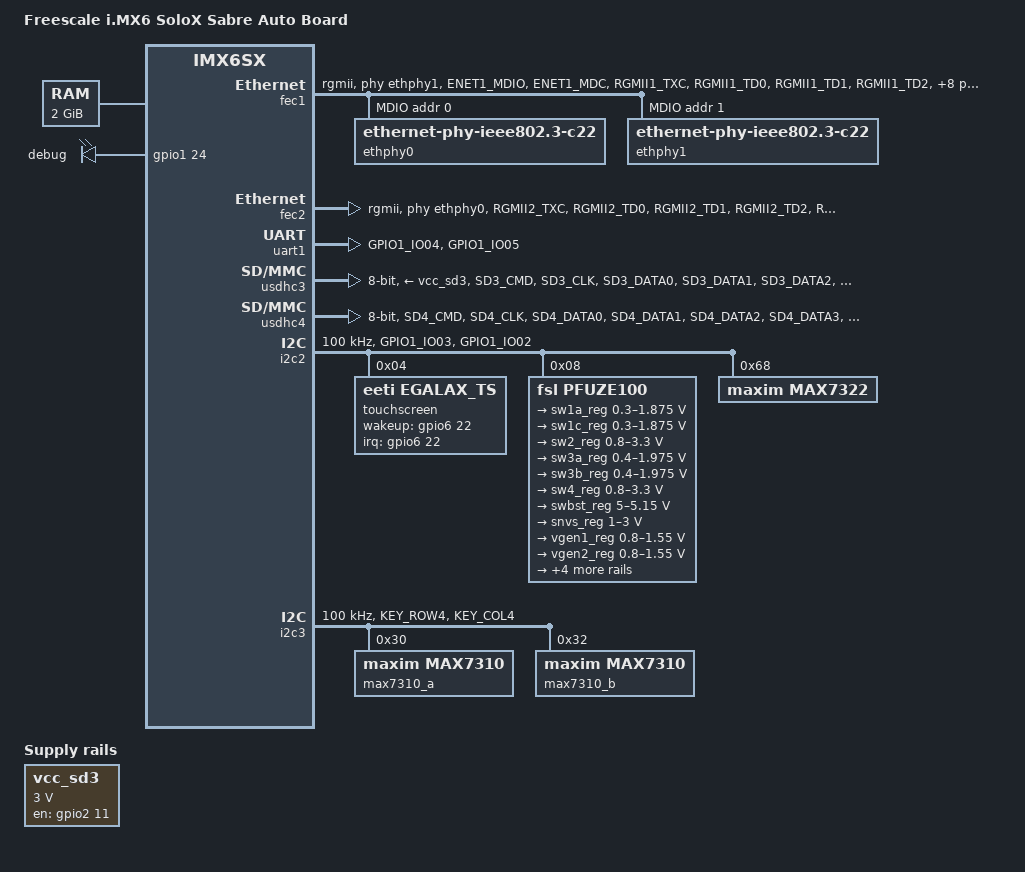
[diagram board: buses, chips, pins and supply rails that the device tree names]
// SPDX-License-Identifier: GPL-2.0
//
// Copyright (C) 2014 Freescale Semiconductor, Inc.

/dts-v1/;

#include "imx6sx.dtsi"

/ {
	model = "Freescale i.MX6 SoloX Sabre Auto Board";
	compatible = "fsl,imx6sx-sabreauto", "fsl,imx6sx";

	memory@80000000 {
		reg = <0x80000000 0x80000000>;
	};

	leds {
		compatible = "gpio-leds";
		pinctrl-names = "default";
		pinctrl-0 = <&pinctrl_led>;

		user {
			label = "debug";
			gpios = <&gpio1 24 GPIO_ACTIVE_HIGH>;
			linux,default-trigger = "heartbeat";
		};
	};

	vcc_sd3: regulator-vcc-sd3 {
		compatible = "regulator-fixed";
		pinctrl-names = "default";
		pinctrl-0 = <&pinctrl_vcc_sd3>;
		regulator-name = "VCC_SD3";
		regulator-min-microvolt = <3000000>;
		regulator-max-microvolt = <3000000>;
		gpio = <&gpio2 11 GPIO_ACTIVE_HIGH>;
		enable-active-high;
	};
};

&anaclk2 {
	clock-frequency = <24576000>;
};

&fec1 {
	pinctrl-names = "default";
	pinctrl-0 = <&pinctrl_enet1>;
	phy-mode = "rgmii";
	phy-handle = <&ethphy1>;
	fsl,magic-packet;
	status = "okay";

	mdio {
		#address-cells = <1>;
		#size-cells = <0>;

		ethphy0: ethernet-phy@0 {
			compatible = "ethernet-phy-ieee802.3-c22";
			reg = <0>;
		};

		ethphy1: ethernet-phy@1 {
			compatible = "ethernet-phy-ieee802.3-c22";
			reg = <1>;
		};
	};
};

&fec2 {
	pinctrl-names = "default";
	pinctrl-0 = <&pinctrl_enet2>;
	phy-mode = "rgmii";
	phy-handle = <&ethphy0>;
	fsl,magic-packet;
	status = "okay";
};

&uart1 {
	pinctrl-names = "default";
	pinctrl-0 = <&pinctrl_uart1>;
	status = "okay";
};

&usdhc3 {
	pinctrl-names = "default", "state_100mhz", "state_200mhz";
	pinctrl-0 = <&pinctrl_usdhc3>;
	pinctrl-1 = <&pinctrl_usdhc3_100mhz>;
	pinctrl-2 = <&pinctrl_usdhc3_200mhz>;
	bus-width = <8>;
	cd-gpios = <&gpio7 10 GPIO_ACTIVE_LOW>;
	wp-gpios = <&gpio3 19 GPIO_ACTIVE_HIGH>;
	keep-power-in-suspend;
	wakeup-source;
	vmmc-supply = <&vcc_sd3>;
	status = "okay";
};

&usdhc4 {
	pinctrl-names = "default";
	pinctrl-0 = <&pinctrl_usdhc4>;
	bus-width = <8>;
	cd-gpios = <&gpio7 11 GPIO_ACTIVE_LOW>;
	no-1-8-v;
	keep-power-in-suspend;
	wakeup-source;
	status = "okay";
};

&iomuxc {
	pinctrl_egalax_int: egalax-intgrp {
		fsl,pins = <
			MX6SX_PAD_SD4_RESET_B__GPIO6_IO_22      0x10b0
		>;
	};

	pinctrl_enet1: enet1grp {
		fsl,pins = <
			MX6SX_PAD_ENET1_MDIO__ENET1_MDIO        0xa0b1
			MX6SX_PAD_ENET1_MDC__ENET1_MDC          0xa0b1
			MX6SX_PAD_RGMII1_TXC__ENET1_RGMII_TXC   0xa0b9
			MX6SX_PAD_RGMII1_TD0__ENET1_TX_DATA_0   0xa0b1
			MX6SX_PAD_RGMII1_TD1__ENET1_TX_DATA_1   0xa0b1
			MX6SX_PAD_RGMII1_TD2__ENET1_TX_DATA_2   0xa0b1
			MX6SX_PAD_RGMII1_TD3__ENET1_TX_DATA_3   0xa0b1
			MX6SX_PAD_RGMII1_TX_CTL__ENET1_TX_EN    0xa0b1
			MX6SX_PAD_RGMII1_RXC__ENET1_RX_CLK      0x3081
			MX6SX_PAD_RGMII1_RD0__ENET1_RX_DATA_0   0x3081
			MX6SX_PAD_RGMII1_RD1__ENET1_RX_DATA_1   0x3081
			MX6SX_PAD_RGMII1_RD2__ENET1_RX_DATA_2   0x3081
			MX6SX_PAD_RGMII1_RD3__ENET1_RX_DATA_3   0x3081
			MX6SX_PAD_RGMII1_RX_CTL__ENET1_RX_EN    0x3081
		>;
	};

	pinctrl_enet2: enet2grp {
		fsl,pins = <
			MX6SX_PAD_RGMII2_TXC__ENET2_RGMII_TXC   0xa0b9
			MX6SX_PAD_RGMII2_TD0__ENET2_TX_DATA_0   0xa0b1
			MX6SX_PAD_RGMII2_TD1__ENET2_TX_DATA_1   0xa0b1
			MX6SX_PAD_RGMII2_TD2__ENET2_TX_DATA_2   0xa0b1
			MX6SX_PAD_RGMII2_TD3__ENET2_TX_DATA_3   0xa0b1
			MX6SX_PAD_RGMII2_TX_CTL__ENET2_TX_EN    0xa0b1
			MX6SX_PAD_RGMII2_RXC__ENET2_RX_CLK      0x3081
			MX6SX_PAD_RGMII2_RD0__ENET2_RX_DATA_0   0x3081
			MX6SX_PAD_RGMII2_RD1__ENET2_RX_DATA_1   0x3081
			MX6SX_PAD_RGMII2_RD2__ENET2_RX_DATA_2   0x3081
			MX6SX_PAD_RGMII2_RD3__ENET2_RX_DATA_3   0x3081
			MX6SX_PAD_RGMII2_RX_CTL__ENET2_RX_EN    0x3081
		>;
	};

	pinctrl_i2c2: i2c2grp {
		fsl,pins = <
			MX6SX_PAD_GPIO1_IO03__I2C2_SDA          0x4001b8b1
			MX6SX_PAD_GPIO1_IO02__I2C2_SCL          0x4001b8b1
		>;
	};

	pinctrl_i2c3: i2c3grp {
		fsl,pins = <
			MX6SX_PAD_KEY_ROW4__I2C3_SDA            0x4001b8b1
			MX6SX_PAD_KEY_COL4__I2C3_SCL            0x4001b8b1
		>;
	};

	pinctrl_led: ledgrp {
		fsl,pins = <
			MX6SX_PAD_CSI_PIXCLK__GPIO1_IO_24 0x17059
		>;
	};

	pinctrl_uart1: uart1grp {
		fsl,pins = <
			MX6SX_PAD_GPIO1_IO04__UART1_TX		0x1b0b1
			MX6SX_PAD_GPIO1_IO05__UART1_RX		0x1b0b1
		>;
	};

	pinctrl_usdhc3: usdhc3grp {
		fsl,pins = <
			MX6SX_PAD_SD3_CMD__USDHC3_CMD		0x17059
			MX6SX_PAD_SD3_CLK__USDHC3_CLK		0x10059
			MX6SX_PAD_SD3_DATA0__USDHC3_DATA0	0x17059
			MX6SX_PAD_SD3_DATA1__USDHC3_DATA1	0x17059
			MX6SX_PAD_SD3_DATA2__USDHC3_DATA2	0x17059
			MX6SX_PAD_SD3_DATA3__USDHC3_DATA3	0x17059
			MX6SX_PAD_SD3_DATA4__USDHC3_DATA4	0x17059
			MX6SX_PAD_SD3_DATA5__USDHC3_DATA5	0x17059
			MX6SX_PAD_SD3_DATA6__USDHC3_DATA6	0x17059
			MX6SX_PAD_SD3_DATA7__USDHC3_DATA7	0x17059
			MX6SX_PAD_KEY_COL0__GPIO2_IO_10		0x17059 /* CD */
			MX6SX_PAD_KEY_ROW0__GPIO2_IO_15		0x17059 /* WP */
		>;
	};

	pinctrl_usdhc3_100mhz: usdhc3grp-100mhz {
		fsl,pins = <
			MX6SX_PAD_SD3_CMD__USDHC3_CMD		0x170b9
			MX6SX_PAD_SD3_CLK__USDHC3_CLK		0x100b9
			MX6SX_PAD_SD3_DATA0__USDHC3_DATA0	0x170b9
			MX6SX_PAD_SD3_DATA1__USDHC3_DATA1	0x170b9
			MX6SX_PAD_SD3_DATA2__USDHC3_DATA2	0x170b9
			MX6SX_PAD_SD3_DATA3__USDHC3_DATA3	0x170b9
			MX6SX_PAD_SD3_DATA4__USDHC3_DATA4	0x170b9
			MX6SX_PAD_SD3_DATA5__USDHC3_DATA5	0x170b9
			MX6SX_PAD_SD3_DATA6__USDHC3_DATA6	0x170b9
			MX6SX_PAD_SD3_DATA7__USDHC3_DATA7	0x170b9
		>;
	};

	pinctrl_usdhc3_200mhz: usdhc3grp-200mhz {
		fsl,pins = <
			MX6SX_PAD_SD3_CMD__USDHC3_CMD		0x170f9
			MX6SX_PAD_SD3_CLK__USDHC3_CLK		0x100f9
			MX6SX_PAD_SD3_DATA0__USDHC3_DATA0	0x170f9
			MX6SX_PAD_SD3_DATA1__USDHC3_DATA1	0x170f9
			MX6SX_PAD_SD3_DATA2__USDHC3_DATA2	0x170f9
			MX6SX_PAD_SD3_DATA3__USDHC3_DATA3	0x170f9
			MX6SX_PAD_SD3_DATA4__USDHC3_DATA4	0x170f9
			MX6SX_PAD_SD3_DATA5__USDHC3_DATA5	0x170f9
			MX6SX_PAD_SD3_DATA6__USDHC3_DATA6	0x170f9
			MX6SX_PAD_SD3_DATA7__USDHC3_DATA7	0x170f9
		>;
	};

	pinctrl_usdhc4: usdhc4grp {
		fsl,pins = <
			MX6SX_PAD_SD4_CMD__USDHC4_CMD		0x17059
			MX6SX_PAD_SD4_CLK__USDHC4_CLK		0x10059
			MX6SX_PAD_SD4_DATA0__USDHC4_DATA0	0x17059
			MX6SX_PAD_SD4_DATA1__USDHC4_DATA1	0x17059
			MX6SX_PAD_SD4_DATA2__USDHC4_DATA2	0x17059
			MX6SX_PAD_SD4_DATA3__USDHC4_DATA3	0x17059
			MX6SX_PAD_SD4_DATA7__GPIO6_IO_21	0x17059 /* CD */
			MX6SX_PAD_SD4_DATA6__GPIO6_IO_20	0x17059 /* WP */
		>;
	};

	pinctrl_vcc_sd3: vccsd3grp {
		fsl,pins = <
			MX6SX_PAD_KEY_COL1__GPIO2_IO_11		0x17059
		>;
	};

	pinctrl_wdog: wdoggrp {
		fsl,pins = <
			MX6SX_PAD_GPIO1_IO13__WDOG1_WDOG_ANY	0x30b0
		>;
	};
};

&i2c2 {
	clock-frequency = <100000>;
	pinctrl-names = "default";
	pinctrl-0 = <&pinctrl_i2c2>;
	status = "okay";

	touchscreen@4 {
		compatible = "eeti,egalax_ts";
		reg = <0x04>;
		pinctrl-names = "default";
		pinctrl-0 = <&pinctrl_egalax_int>;
		interrupt-parent = <&gpio6>;
		interrupts = <22 IRQ_TYPE_EDGE_FALLING>;
		wakeup-gpios = <&gpio6 22 GPIO_ACTIVE_HIGH>;
	};

	pfuze100: pmic@8 {
		compatible = "fsl,pfuze100";
		reg = <0x08>;

		regulators {
			sw1a_reg: sw1ab {
				regulator-min-microvolt = <300000>;
				regulator-max-microvolt = <1875000>;
				regulator-boot-on;
				regulator-always-on;
				regulator-ramp-delay = <6250>;
			};

			sw1c_reg: sw1c {
				regulator-min-microvolt = <300000>;
				regulator-max-microvolt = <1875000>;
				regulator-boot-on;
				regulator-always-on;
				regulator-ramp-delay = <6250>;
			};

			sw2_reg: sw2 {
				regulator-min-microvolt = <800000>;
				regulator-max-microvolt = <3300000>;
				regulator-boot-on;
				regulator-always-on;
			};

			sw3a_reg: sw3a {
				regulator-min-microvolt = <400000>;
				regulator-max-microvolt = <1975000>;
				regulator-boot-on;
				regulator-always-on;
			};

			sw3b_reg: sw3b {
				regulator-min-microvolt = <400000>;
				regulator-max-microvolt = <1975000>;
				regulator-boot-on;
				regulator-always-on;
			};

			sw4_reg: sw4 {
				regulator-min-microvolt = <800000>;
				regulator-max-microvolt = <3300000>;
				regulator-always-on;
			};

			swbst_reg: swbst {
				regulator-min-microvolt = <5000000>;
				regulator-max-microvolt = <5150000>;
			};

			snvs_reg: vsnvs {
				regulator-min-microvolt = <1000000>;
				regulator-max-microvolt = <3000000>;
				regulator-boot-on;
				regulator-always-on;
			};

			vref_reg: vrefddr {
				regulator-boot-on;
				regulator-always-on;
			};

			vgen1_reg: vgen1 {
				regulator-min-microvolt = <800000>;
				regulator-max-microvolt = <1550000>;
				regulator-always-on;
			};

			vgen2_reg: vgen2 {
				regulator-min-microvolt = <800000>;
				regulator-max-microvolt = <1550000>;
			};

			vgen3_reg: vgen3 {
				regulator-min-microvolt = <1800000>;
				regulator-max-microvolt = <3300000>;
				regulator-always-on;
			};

			vgen4_reg: vgen4 {
				regulator-min-microvolt = <1800000>;
				regulator-max-microvolt = <3300000>;
				regulator-always-on;
			};

			vgen5_reg: vgen5 {
				regulator-min-microvolt = <1800000>;
				regulator-max-microvolt = <3300000>;
				regulator-always-on;
			};

			vgen6_reg: vgen6 {
				regulator-min-microvolt = <1800000>;
				regulator-max-microvolt = <3300000>;
				regulator-always-on;
			};
		};
	};

	max7322: gpio@68 {
		compatible = "maxim,max7322";
		reg = <0x68>;
		gpio-controller;
		#gpio-cells = <2>;
	};
};

&i2c3 {
	clock-frequency = <100000>;
	pinctrl-names = "default";
	pinctrl-0 = <&pinctrl_i2c3>;
	status = "okay";

	max7310_a: gpio@30 {
		compatible = "maxim,max7310";
		reg = <0x30>;
		gpio-controller;
		#gpio-cells = <2>;
	};

	max7310_b: gpio@32 {
		compatible = "maxim,max7310";
		reg = <0x32>;
		gpio-controller;
		#gpio-cells = <2>;
	};
};

&wdog1 {
	pinctrl-names = "default";
	pinctrl-0 = <&pinctrl_wdog>;
	fsl,ext-reset-output;
};
